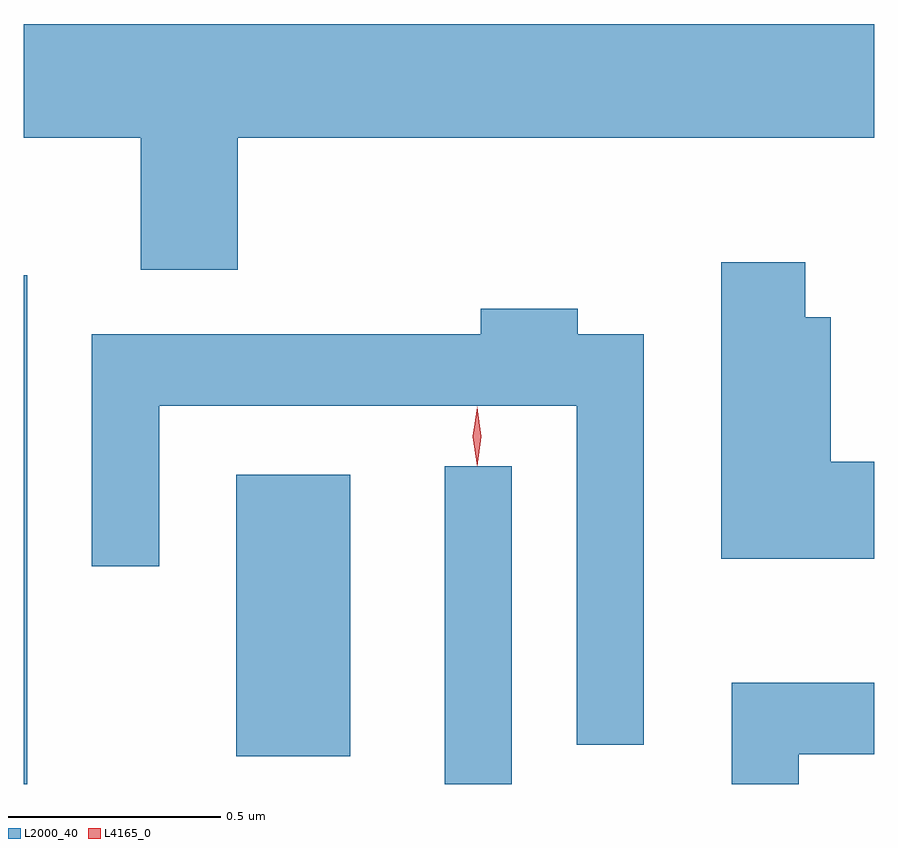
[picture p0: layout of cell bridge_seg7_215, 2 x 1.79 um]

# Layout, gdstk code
import gdstk
lib = gdstk.Library(unit=1e-6, precision=1e-09)
def R(c, l, rs):  # rectangles x0, y0, x1, y1
    for r in rs: c.add(gdstk.rectangle(r[:2], r[2:], *l))
def P(c, l, *ps):  # polygons
    for p in ps: c.add(gdstk.Polygon(p, *l))
L2000_40 = (2000, 40)
L4165_0 = (4165, 0)

bridge_seg7_215 = lib.new_cell('bridge_seg7_215')
R(bridge_seg7_215, L2000_40, [(1497.186,1706.136,1497.194,1707.333), (1498.176,1706.136,1498.334,1706.883), (1497.686,1706.201,1497.954,1706.864)])
P(bridge_seg7_215, L2000_40, [(1497.689,1707.656),(1499.186,1707.656),(1499.186,1707.924),(1497.186,1707.924),(1497.186,1707.656),(1497.461,1707.656),(1497.461,1707.346),(1497.689,1707.346)],
  [(1499.186,1706.894),(1499.084,1706.894),(1499.084,1707.234),(1499.024,1707.234),(1499.024,1707.364),(1498.826,1707.364),(1498.826,1706.666),(1499.186,1706.666)],
  [(1498.644,1707.194),(1498.489,1707.194),(1498.489,1707.254),(1498.261,1707.254),(1498.261,1707.194),(1497.346,1707.194),(1497.346,1706.648),(1497.504,1706.648),(1497.504,1707.026),(1498.486,1707.026),(1498.486,1706.228),(1498.644,1706.228)],
  [(1499.009,1706.206),(1499.186,1706.206),(1499.186,1706.374),(1498.851,1706.374),(1498.851,1706.136),(1499.009,1706.136)])
P(bridge_seg7_215, L4165_0, [(1498.252,1706.887),(1498.252,1706.887),(1498.242,1706.954),(1498.252,1707.02),(1498.252,1707.02),(1498.252,1707.02),(1498.262,1706.954),(1498.253,1706.887)],
  [(1498.252,1706.884),(1498.252,1706.884),(1498.242,1706.953),(1498.252,1707.022),(1498.252,1707.023),(1498.253,1707.022),(1498.262,1706.953),(1498.253,1706.884)])

lib.write_gds('bridge_seg7_215.gds')
